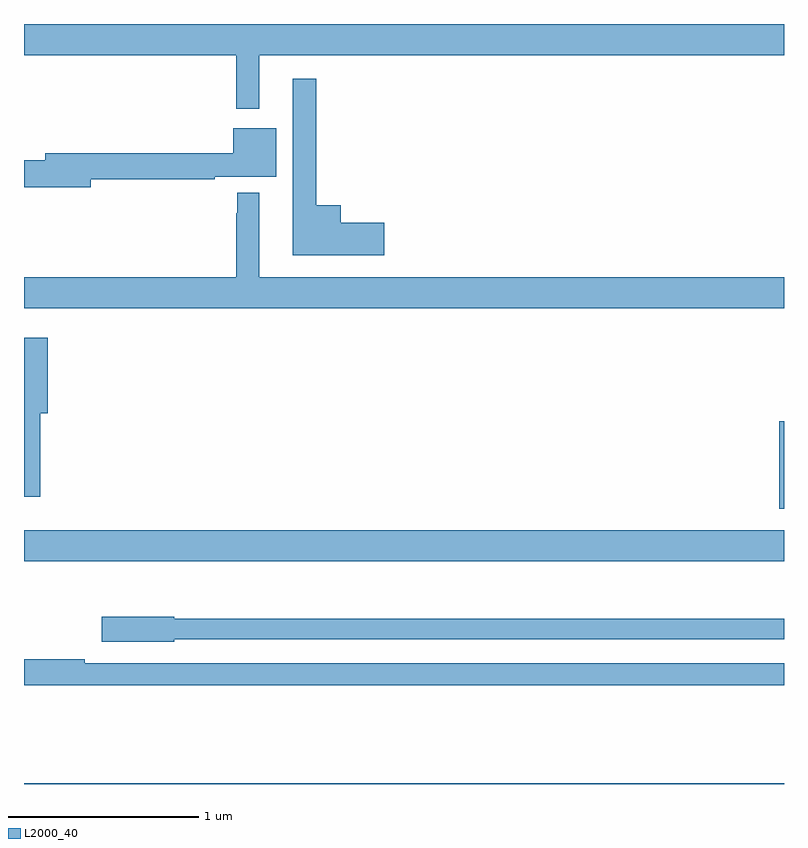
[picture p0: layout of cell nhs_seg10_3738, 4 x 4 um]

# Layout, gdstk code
import gdstk
lib = gdstk.Library(unit=1e-6, precision=1e-09)
def R(c, l, rs):  # rectangles x0, y0, x1, y1
    for r in rs: c.add(gdstk.rectangle(r[:2], r[2:], *l))
def P(c, l, *ps):  # polygons
    for p in ps: c.add(gdstk.Polygon(p, *l))
L2000_40 = (2000, 40)

nhs_seg10_3738 = lib.new_cell('nhs_seg10_3738')
R(nhs_seg10_3738, L2000_40, [(315,1276.5,319,1276.504), (315,1277.672,319,1277.836), (318.974,1277.949,319,1278.409)])
P(nhs_seg10_3738, L2000_40, [(316.237,1280.336),(319,1280.336),(319,1280.5),(315,1280.5),(315,1280.336),(316.116,1280.336),(316.116,1280.055),(316.237,1280.055)],
  [(316.897,1279.454),(316.666,1279.454),(316.666,1279.546),(316.537,1279.546),(316.537,1280.212),(316.415,1280.212),(316.415,1279.283),(316.897,1279.283)],
  [(315.352,1279.684),(316.004,1279.684),(316.004,1279.697),(316.327,1279.697),(316.327,1279.951),(316.1,1279.951),(316.1,1279.82),(315.113,1279.82),(315.113,1279.784),(315,1279.784),(315,1279.642),(315.352,1279.642)],
  [(319,1279.168),(316.237,1279.168),(316.237,1279.612),(316.122,1279.612),(316.122,1279.505),(316.116,1279.505),(316.116,1279.168),(315,1279.168),(315,1279.004),(319,1279.004)],
  [(315.086,1278.452),(315.125,1278.452),(315.125,1278.85),(315,1278.85),(315,1278.012),(315.086,1278.012)],
  [(315.792,1277.262),(319,1277.262),(319,1277.371),(315.792,1277.371),(315.792,1277.379),(315.408,1277.379),(315.408,1277.249),(315.792,1277.249)],
  [(319,1277.136),(315.32,1277.136),(315.32,1277.156),(315,1277.156),(315,1277.02),(319,1277.02)])

lib.write_gds('nhs_seg10_3738.gds')
